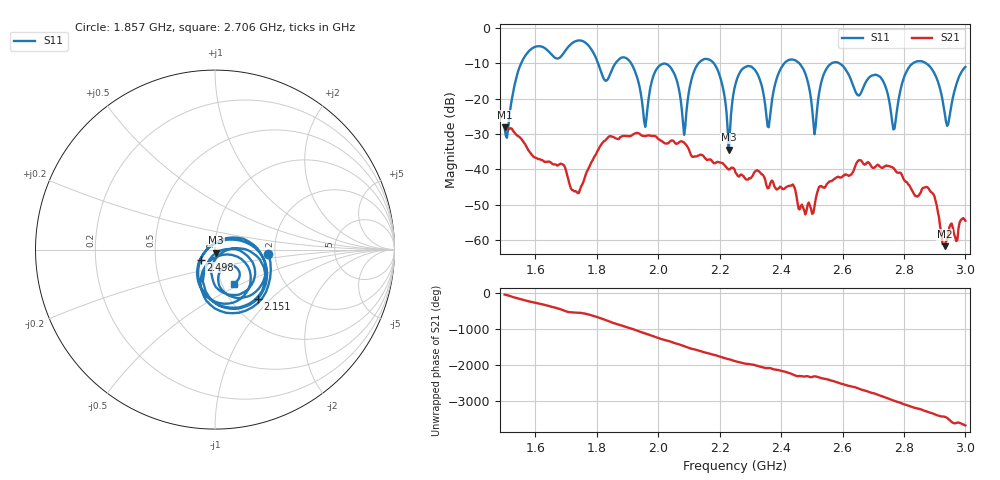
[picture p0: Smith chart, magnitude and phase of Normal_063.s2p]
# HZ S RI R 50
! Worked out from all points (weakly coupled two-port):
!   404 points, 1.5 GHz to 3 GHz, reference 50 ohm
!   highest |S21| = -28.08 dB at 1.5 GHz (marker M1); lowest = -61.8 dB at 2.933 GHz (marker M2)
!   lowest |S11| = -34.5 dB at 2.23 GHz (marker M3), VSWR 1.04, Z = 50.6 - j1.79 ohm
!   |S11| at or under -10 dB: 1.912 GHz to 2.132 GHz (219.8 MHz wide, 10.9 % of centre); 2.181 GHz to 2.411 GHz (230 MHz wide, 10 % of centre); 2.589 GHz to 2.829 GHz (240.1 MHz wide, 8.86 % of centre) (the widest 3 of 7)
!   S12 and S22 are empty: the file has one direction only
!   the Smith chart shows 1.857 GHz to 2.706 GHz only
!   S11 on the Smith chart (normalised r, x): 1.857 GHz: 1.85, -0.10; 2.151 GHz: 1.33, -0.84; 2.498 GHz: 0.85, -0.10; 2.706 GHz: 1.14, -0.45
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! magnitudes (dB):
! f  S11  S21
! 1.5 GHz  -28.3  -28.1
! 1.574 GHz  -7.1  -34.2
! 1.753 GHz  -3.7  -44.3
! 1.857 GHz  -10.5  -31.0
! 1.913 GHz  -10.2  -30.5
! 1.958 GHz  -28.0  -30.6
! 2.002 GHz  -10.9  -31.6
! 2.084 GHz  -30.3  -32.5
! 2.151 GHz  -8.8  -36.7
! 2.23 GHz  -34.5  -40.1
! 2.252 GHz  -15.8  -41.0
! 2.311 GHz  -11.6  -41.1
! 2.36 GHz  -28.1  -45.3
! 2.438 GHz  -9.0  -44.3
! 2.498 GHz  -20.2  -51.2
! 2.501 GHz  -23.0  -52.6
! 2.565 GHz  -10.0  -43.3
! 2.706 GHz  -13.3  -39.4
! 2.751 GHz  -20.0  -39.1
! 2.859 GHz  -9.5  -45.6
! 2.933 GHz  -24.3  -61.8
! 3 GHz  -11.0  -54.6
